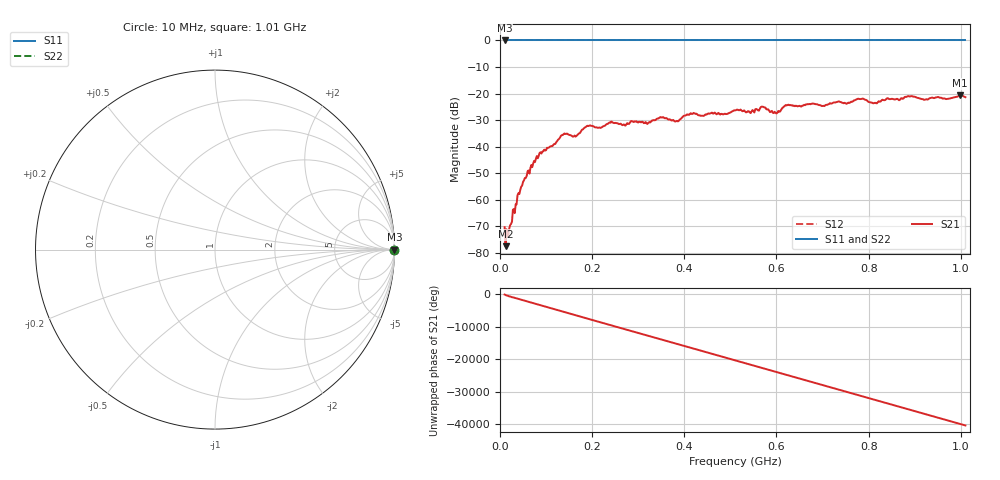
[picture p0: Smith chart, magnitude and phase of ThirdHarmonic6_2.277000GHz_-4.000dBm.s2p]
! 8/17/2025 2:55:22 AM
! C:\ANRITSUVNA\TEMP\TEMP.S2P
! CHANNEL.1
! TR.MEASUREMENT
! RAW.DATA
! RF.CORRECTION.OFF
! AVERAGING.OFF
! IF.BANDWIDTH: 5KHZ
! SWEEPTYPE:  FREQ.SWEEP(Linear)
! Reference Plane Port Info
! PORT:  PORT1  PORT2
! DISTANCE:  0  m  0  m
! TIME:  0  s  0  s
! PHASE.OFFSET:  0  deg.  0  deg.
! LOSS:  0  dB  0  dB
! REF.LOSS:  0  dB  0  dB
! REF.FREQ:  0  Hz  0  Hz
! Power Info
! POWER:  -20  dBm  -20  dBm
! EFF.POWER:  -20  dBm  -20  dBm
! SOURCE.ATTEN:  0  dB  0  dB
! TEST.ATTEN:  0  dB  0  dB
# GHZ S RI R 50.0
! FREQ.GHZ  S11RE  S11IM  S21RE  S21IM  S12RE  S12IM  S22RE  S22IM
!; PortSelection: Port_12
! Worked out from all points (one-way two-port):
!   501 points, 10 MHz to 1.01 GHz, reference 50 ohm
!   highest |S21| = -20.64 dB at 998 MHz (marker M1); lowest = -77.4 dB at 12 MHz (marker M2)
!   lowest |S11| = 0.0 dB at 10 MHz (marker M3)
!   |S11| at or under -10 dB: nowhere
!   |S22| runs from 0.0 to 0.0 dB; largest |S21 - S12| = 1.1
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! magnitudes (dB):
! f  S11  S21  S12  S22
! 10 MHz  0.0  -70.3  0.0  0.0
! 12 MHz  0.0  -77.4  0.0  0.0
! 16 MHz  0.0  -73.9  0.0  0.0
! 20 MHz  0.0  -70.9  0.0  0.0
! 50 MHz  0.0  -53.3  0.0  0.0
! 84 MHz  0.0  -43.5  0.0  0.0
! 136 MHz  0.0  -35.6  0.0  0.0
! 162 MHz  0.0  -35.8  0.0  0.0
! 178 MHz  0.0  -33.6  0.0  0.0
! 344 MHz  0.0  -29.4  0.0  0.0
! 384 MHz  0.0  -30.3  0.0  0.0
! 416 MHz  0.0  -27.7  0.0  0.0
! 510 MHz  0.0  -26.3  0.0  0.0
! 570 MHz  0.0  -24.9  0.0  0.0
! 598 MHz  0.0  -27.2  0.0  0.0
! 622 MHz  0.0  -24.4  0.0  0.0
! 678 MHz  0.0  -23.8  0.0  0.0
! 784 MHz  0.0  -22.0  0.0  0.0
! 814 MHz  0.0  -23.5  0.0  0.0
! 844 MHz  0.0  -22.0  0.0  0.0
! 998 MHz  0.0  -20.6  0.0  0.0
! 1.01 GHz  0.0  -21.4  0.0  0.0
